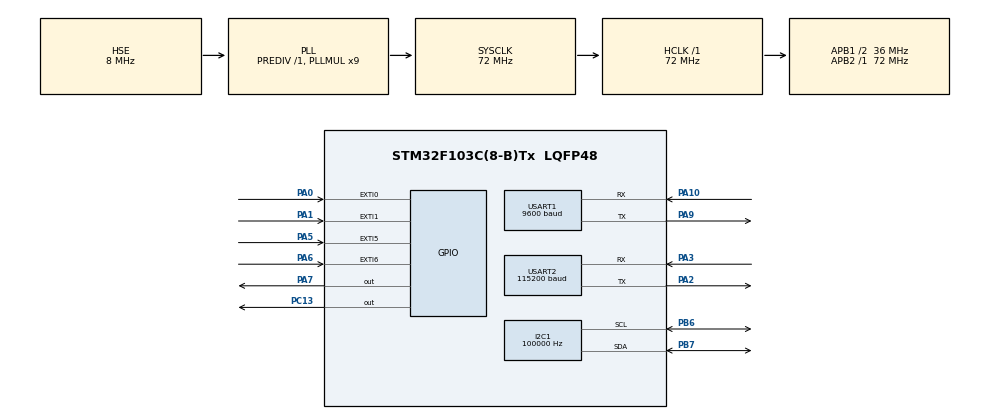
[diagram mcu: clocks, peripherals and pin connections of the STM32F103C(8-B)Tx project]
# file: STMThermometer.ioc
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FREERTOS.Queues01=UartMessageQueue,16,uint8_t,0,Dynamic,NULL,NULL;PCMessageQueue,4,void*,0,Dynamic,NULL,NULL
FREERTOS.Tasks01=defaultTask,0,256,StartDefaultTask,Default,NULL,Dynamic,NULL,NULL;UartReadTask,2,128,StartUartReadTask,As external,NULL,Dynamic,NULL,NULL;PCSendMessTask,-1,128,StartPCSendMessageTask,As external,NULL,Dynamic,NULL,NULL;DesMakerTask,-1,128,StartDecisionMakerTask,As external,NULL,Dynamic,NULL,NULL;DisplayPrintTas,1,512,StartDisplayPrintTask,As external,NULL,Dynamic,NULL,NULL
FREERTOS.Timers01=EncoderMuteTimer,EncoderMuteTimerCallback,osTimerOnce,Default,NULL,Dynamic,NULL
FREERTOS.configTOTAL_HEAP_SIZE=8192
FREERTOS.configUSE_TIMERS=1
I2C1.ClockSpeed=100000
I2C1.I2C_Mode=I2C_Standard
Mcu.Family=STM32F1
Mcu.Name=STM32F103C(8-B)Tx
Mcu.Package=LQFP48
NVIC.EXTI0_IRQn=true\:5\:0\:false\:false\:true\:true\:true\:true
NVIC.EXTI1_IRQn=true\:5\:0\:false\:false\:true\:true\:true\:true
NVIC.EXTI9_5_IRQn=true\:5\:0\:false\:false\:true\:true\:true\:true
NVIC.PriorityGroup=NVIC_PRIORITYGROUP_4
NVIC.TIM1_UP_IRQn=true\:0\:0\:false\:false\:true\:false\:false\:true
NVIC.TIM2_IRQn=true\:5\:0\:false\:false\:true\:true\:true\:true
NVIC.TimeBase=TIM1_UP_IRQn
NVIC.TimeBaseIP=TIM1
NVIC.USART1_IRQn=true\:5\:0\:false\:false\:true\:true\:true\:true
PA0-WKUP.GPIO_ModeDefaultEXTI=GPIO_MODE_IT_FALLING
PA0-WKUP.GPIO_PuPd=GPIO_PULLUP
PA0-WKUP.Signal=GPXTI0
PA1.GPIO_ModeDefaultEXTI=GPIO_MODE_IT_FALLING
PA1.GPIO_PuPd=GPIO_PULLUP
PA1.Signal=GPXTI1
PA10.Mode=Asynchronous
PA10.Signal=USART1_RX
PA13.Mode=Serial_Wire
PA13.Signal=SYS_JTMS-SWDIO
PA14.Mode=Serial_Wire
PA14.Signal=SYS_JTCK-SWCLK
PA2.Mode=Asynchronous
PA2.Signal=USART2_TX
PA3.Mode=Asynchronous
PA3.Signal=USART2_RX
PA5.GPIO_ModeDefaultEXTI=GPIO_MODE_IT_RISING
PA5.GPIO_PuPd=GPIO_PULLUP
PA5.Signal=GPXTI5
PA6.GPIO_ModeDefaultEXTI=GPIO_MODE_IT_FALLING
PA6.GPIO_PuPd=GPIO_NOPULL
PA6.Signal=GPXTI6
PA7.Signal=GPIO_Output
PA9.Mode=Asynchronous
PA9.Signal=USART1_TX
PB6.Mode=I2C
PB6.Signal=I2C1_SCL
PB7.Mode=I2C
PB7.Signal=I2C1_SDA
PC13-TAMPER-RTC.GPIO_PuPd=GPIO_PULLDOWN
PC13-TAMPER-RTC.GPIO_Speed=GPIO_SPEED_FREQ_MEDIUM
PC13-TAMPER-RTC.Signal=GPIO_Output
PD0-OSC_IN.Mode=HSE-External-Oscillator
PD0-OSC_IN.Signal=RCC_OSC_IN
PD1-OSC_OUT.Mode=HSE-External-Oscillator
PD1-OSC_OUT.Signal=RCC_OSC_OUT
ProjectManager.HeapSize=0x200
ProjectManager.StackSize=0x400
ProjectManager.TargetToolchain=STM32CubeIDE
RCC.AHBFreq_Value=72000000
RCC.APB1CLKDivider=RCC_HCLK_DIV2
RCC.APB1Freq_Value=36000000
RCC.APB1TimFreq_Value=72000000
RCC.APB2Freq_Value=72000000
RCC.APB2TimFreq_Value=72000000
RCC.HCLKFreq_Value=72000000
RCC.PLLMUL=RCC_PLL_MUL9
RCC.PLLSourceVirtual=RCC_PLLSOURCE_HSE
RCC.SYSCLKFreq_VALUE=72000000
RCC.SYSCLKSource=RCC_SYSCLKSOURCE_PLLCLK
RCC.USBFreq_Value=72000000
TIM2.Period=8
TIM2.Prescaler=719
USART1.BaudRate=9600
USART1.VirtualMode=VM_ASYNC
USART2.BaudRate=115200
USART2.VirtualMode=VM_ASYNC
VP_FREERTOS_VS_CMSIS_V1.Mode=CMSIS_V1
VP_SYS_VS_tim1.Mode=TIM1
VP_TIM2_VS_ClockSourceINT.Mode=Internal
board=custom

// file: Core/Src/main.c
/* USER CODE BEGIN Header */
/**
 ******************************************************************************
 * @file           : main.c
 * @brief          : Main program body
 ******************************************************************************
 * @attention
 *
 * <h2><center>&copy; Copyright (c) 2020 STMicroelectronics.
 * All rights reserved.</center></h2>
 *
 * This software component is licensed by ST under BSD 3-Clause license,
 * the "License"; You may not use this file except in compliance with the
 * License. You may obtain a copy of the License at:
 *                        opensource.org/licenses/BSD-3-Clause
 *
 ******************************************************************************
 */
/* USER CODE END Header */
#include "main.h"
#include "cmsis_os.h"

I2C_HandleTypeDef hi2c1;

TIM_HandleTypeDef htim2;

UART_HandleTypeDef huart1;
UART_HandleTypeDef huart2;

osThreadId defaultTaskHandle;
osThreadId UartReadTaskHandle;
osThreadId PCSendMessTaskHandle;
osThreadId DesMakerTaskHandle;
osThreadId DisplayPrintTasHandle;
osMessageQId UartMessageQueueHandle;
osMessageQId PCMessageQueueHandle;
osTimerId EncoderMuteTimerHandle;

void SystemClock_Config(void);
static void MX_GPIO_Init(void);
static void MX_USART1_UART_Init(void);
static void MX_USART2_UART_Init(void);
static void MX_I2C1_Init(void);
static void MX_TIM2_Init(void);
void StartDefaultTask(void const * argument);
extern void StartUartReadTask(void const * argument);
extern void StartPCSendMessageTask(void const * argument);
extern void StartDecisionMakerTask(void const * argument);
extern void StartDisplayPrintTask(void const * argument);
void EncoderMuteTimerCallback(void const * argument);

/* USER CODE BEGIN 0 */

void HAL_GPIO_EXTI_Callback(uint16_t GPIO_Pin) {

	ENCODER_isr_callback(&encoder, GPIO_Pin);
	DIMMER_isr_zero_ctrl_callback(&dimmer, GPIO_Pin);
	/*
	 int a = 0;
	 if (!toggle_count) {
	 toggle_count = 1;
	 SelectNextMode();
	 } else {
	 toggle_count = 0;
	 }*/

}

/* USER CODE END 0 */

int main(void)
{

  /* MCU Configuration--------------------------------------------------------*/

  /* Reset of all peripherals, Initializes the Flash interface and the Systick. */
  HAL_Init();

  /* Configure the system clock */
  SystemClock_Config();

  /* Initialize all configured peripherals */
  MX_GPIO_Init();
  MX_USART1_UART_Init();
  MX_USART2_UART_Init();
  MX_I2C1_Init();
  MX_TIM2_Init();
  /* USER CODE BEGIN 2 */
	OWDriverInit(&huart1, 1500);
	InitOutworldInformer(&huart2, 1000, &hi2c1);
	DecisionMakerInit(5000);
	DIMMER_Init(&dimmer, GPIO_PIN_6, GPIO_PIN_7, GPIOA, GPIOA, &htim2);

	//HAL_Delay (5000);

  /* USER CODE END 2 */

  /* Create the timer(s) */
  /* definition and creation of EncoderMuteTimer */
  osTimerDef(EncoderMuteTimer, EncoderMuteTimerCallback);
  EncoderMuteTimerHandle = osTimerCreate(osTimer(EncoderMuteTimer), osTimerOnce, NULL);

  /* USER CODE BEGIN RTOS_TIMERS */
	/* start timers, add new ones, ... */
	ENCODER_Init(&encoder, GPIO_PIN_0, GPIO_PIN_1, GPIO_PIN_5, GPIOA, GPIOA,
			EncoderMuteTimerHandle, &IncreaseMaintainingTemperature,
			&DecreaseMaintainingTemperature, &SelectNextMode);
  /* USER CODE END RTOS_TIMERS */

  /* Create the queue(s) */
  /* definition and creation of UartMessageQueue */
  osMessageQDef(UartMessageQueue, 16, uint8_t);
  UartMessageQueueHandle = osMessageCreate(osMessageQ(UartMessageQueue), NULL);

  /* definition and creation of PCMessageQueue */
  osMessageQDef(PCMessageQueue, 4, void*);
  PCMessageQueueHandle = osMessageCreate(osMessageQ(PCMessageQueue), NULL);

  /* Create the thread(s) */
  /* definition and creation of defaultTask */
  osThreadDef(defaultTask, StartDefaultTask, osPriorityNormal, 0, 256);
  defaultTaskHandle = osThreadCreate(osThread(defaultTask), NULL);

  /* definition and creation of UartReadTask */
  osThreadDef(UartReadTask, StartUartReadTask, osPriorityHigh, 0, 128);
  UartReadTaskHandle = osThreadCreate(osThread(UartReadTask), NULL);

  /* definition and creation of PCSendMessTask */
  osThreadDef(PCSendMessTask, StartPCSendMessageTask, osPriorityBelowNormal, 0, 128);
  PCSendMessTaskHandle = osThreadCreate(osThread(PCSendMessTask), NULL);

  /* definition and creation of DesMakerTask */
  osThreadDef(DesMakerTask, StartDecisionMakerTask, osPriorityBelowNormal, 0, 128);
  DesMakerTaskHandle = osThreadCreate(osThread(DesMakerTask), NULL);

  /* definition and creation of DisplayPrintTas */
  osThreadDef(DisplayPrintTas, StartDisplayPrintTask, osPriorityAboveNormal, 0, 512);
  DisplayPrintTasHandle = osThreadCreate(osThread(DisplayPrintTas), NULL);

  /* Start scheduler */
  osKernelStart();

  /* We should never get here as control is now taken by the scheduler */
  /* Infinite loop */
	while (1) {

	}
}

void SystemClock_Config(void)
{
  RCC_OscInitTypeDef RCC_OscInitStruct = {0};
  RCC_ClkInitTypeDef RCC_ClkInitStruct = {0};

  /** Initializes the RCC Oscillators according to the specified parameters
  * in the RCC_OscInitTypeDef structure.
  */
  RCC_OscInitStruct.OscillatorType = RCC_OSCILLATORTYPE_HSE;
  RCC_OscInitStruct.HSEState = RCC_HSE_ON;
  RCC_OscInitStruct.HSEPredivValue = RCC_HSE_PREDIV_DIV1;
  RCC_OscInitStruct.HSIState = RCC_HSI_ON;
  RCC_OscInitStruct.PLL.PLLState = RCC_PLL_ON;
  RCC_OscInitStruct.PLL.PLLSource = RCC_PLLSOURCE_HSE;
  RCC_OscInitStruct.PLL.PLLMUL = RCC_PLL_MUL9;
  if (HAL_RCC_OscConfig(&RCC_OscInitStruct) != HAL_OK)
  {
    Error_Handler();
  }
  /** Initializes the CPU, AHB and APB buses clocks
  */
  RCC_ClkInitStruct.ClockType = RCC_CLOCKTYPE_HCLK|RCC_CLOCKTYPE_SYSCLK
                              |RCC_CLOCKTYPE_PCLK1|RCC_CLOCKTYPE_PCLK2;
  RCC_ClkInitStruct.SYSCLKSource = RCC_SYSCLKSOURCE_PLLCLK;
  RCC_ClkInitStruct.AHBCLKDivider = RCC_SYSCLK_DIV1;
  RCC_ClkInitStruct.APB1CLKDivider = RCC_HCLK_DIV2;
  RCC_ClkInitStruct.APB2CLKDivider = RCC_HCLK_DIV1;

  if (HAL_RCC_ClockConfig(&RCC_ClkInitStruct, FLASH_LATENCY_2) != HAL_OK)
  {
    Error_Handler();
  }
}

static void MX_I2C1_Init(void)
{

  hi2c1.Instance = I2C1;
  hi2c1.Init.ClockSpeed = 100000;
  hi2c1.Init.DutyCycle = I2C_DUTYCYCLE_2;
  hi2c1.Init.OwnAddress1 = 0;
  hi2c1.Init.AddressingMode = I2C_ADDRESSINGMODE_7BIT;
  hi2c1.Init.DualAddressMode = I2C_DUALADDRESS_DISABLE;
  hi2c1.Init.OwnAddress2 = 0;
  hi2c1.Init.GeneralCallMode = I2C_GENERALCALL_DISABLE;
  hi2c1.Init.NoStretchMode = I2C_NOSTRETCH_DISABLE;
  if (HAL_I2C_Init(&hi2c1) != HAL_OK)
  {
    Error_Handler();
  }

}

static void MX_TIM2_Init(void)
{

  TIM_ClockConfigTypeDef sClockSourceConfig = {0};
  TIM_MasterConfigTypeDef sMasterConfig = {0};

  htim2.Instance = TIM2;
  htim2.Init.Prescaler = 719;
  htim2.Init.CounterMode = TIM_COUNTERMODE_UP;
  htim2.Init.Period = 8;
  htim2.Init.ClockDivision = TIM_CLOCKDIVISION_DIV1;
  htim2.Init.AutoReloadPreload = TIM_AUTORELOAD_PRELOAD_DISABLE;
  if (HAL_TIM_Base_Init(&htim2) != HAL_OK)
  {
    Error_Handler();
  }
  sClockSourceConfig.ClockSource = TIM_CLOCKSOURCE_INTERNAL;
  if (HAL_TIM_ConfigClockSource(&htim2, &sClockSourceConfig) != HAL_OK)
  {
    Error_Handler();
  }
  sMasterConfig.MasterOutputTrigger = TIM_TRGO_RESET;
  sMasterConfig.MasterSlaveMode = TIM_MASTERSLAVEMODE_DISABLE;
  if (HAL_TIMEx_MasterConfigSynchronization(&htim2, &sMasterConfig) != HAL_OK)
  {
    Error_Handler();
  }

}

static void MX_USART1_UART_Init(void)
{

  huart1.Instance = USART1;
  huart1.Init.BaudRate = 9600;
  huart1.Init.WordLength = UART_WORDLENGTH_8B;
  huart1.Init.StopBits = UART_STOPBITS_1;
  huart1.Init.Parity = UART_PARITY_NONE;
  huart1.Init.Mode = UART_MODE_TX_RX;
  huart1.Init.HwFlowCtl = UART_HWCONTROL_NONE;
  huart1.Init.OverSampling = UART_OVERSAMPLING_16;
  if (HAL_UART_Init(&huart1) != HAL_OK)
  {
    Error_Handler();
  }
  /* USER CODE BEGIN USART1_Init 2 */
	HAL_NVIC_EnableIRQ(USART1_IRQn);
	__HAL_UART_ENABLE_IT(&huart1, UART_IT_RXNE);

  /* USER CODE END USART1_Init 2 */

}

static void MX_USART2_UART_Init(void)
{

  huart2.Instance = USART2;
  huart2.Init.BaudRate = 115200;
  huart2.Init.WordLength = UART_WORDLENGTH_8B;
  huart2.Init.StopBits = UART_STOPBITS_1;
  huart2.Init.Parity = UART_PARITY_NONE;
  huart2.Init.Mode = UART_MODE_TX_RX;
  huart2.Init.HwFlowCtl = UART_HWCONTROL_NONE;
  huart2.Init.OverSampling = UART_OVERSAMPLING_16;
  if (HAL_UART_Init(&huart2) != HAL_OK)
  {
    Error_Handler();
  }

}

static void MX_GPIO_Init(void)
{
  GPIO_InitTypeDef GPIO_InitStruct = {0};

  /* GPIO Ports Clock Enable */
  __HAL_RCC_GPIOC_CLK_ENABLE();
  __HAL_RCC_GPIOD_CLK_ENABLE();
  __HAL_RCC_GPIOA_CLK_ENABLE();
  __HAL_RCC_GPIOB_CLK_ENABLE();

  /*Configure GPIO pin Output Level */
  HAL_GPIO_WritePin(GPIOC, GPIO_PIN_13, GPIO_PIN_RESET);

  /*Configure GPIO pin Output Level */
  HAL_GPIO_WritePin(GPIOA, GPIO_PIN_7, GPIO_PIN_RESET);

  /*Configure GPIO pin : PC13 */
  GPIO_InitStruct.Pin = GPIO_PIN_13;
  GPIO_InitStruct.Mode = GPIO_MODE_OUTPUT_PP;
  GPIO_InitStruct.Pull = GPIO_PULLDOWN;
  GPIO_InitStruct.Speed = GPIO_SPEED_FREQ_MEDIUM;
  HAL_GPIO_Init(GPIOC, &GPIO_InitStruct);

  /*Configure GPIO pins : PA0 PA1 */
  GPIO_InitStruct.Pin = GPIO_PIN_0|GPIO_PIN_1;
  GPIO_InitStruct.Mode = GPIO_MODE_IT_FALLING;
  GPIO_InitStruct.Pull = GPIO_PULLUP;
  HAL_GPIO_Init(GPIOA, &GPIO_InitStruct);

  /*Configure GPIO pin : PA5 */
  GPIO_InitStruct.Pin = GPIO_PIN_5;
  GPIO_InitStruct.Mode = GPIO_MODE_IT_RISING;
  GPIO_InitStruct.Pull = GPIO_PULLUP;
  HAL_GPIO_Init(GPIOA, &GPIO_InitStruct);

  /*Configure GPIO pin : PA6 */
  GPIO_InitStruct.Pin = GPIO_PIN_6;
  GPIO_InitStruct.Mode = GPIO_MODE_IT_FALLING;
  GPIO_InitStruct.Pull = GPIO_NOPULL;
  HAL_GPIO_Init(GPIOA, &GPIO_InitStruct);

  /*Configure GPIO pin : PA7 */
  GPIO_InitStruct.Pin = GPIO_PIN_7;
  GPIO_InitStruct.Mode = GPIO_MODE_OUTPUT_PP;
  GPIO_InitStruct.Pull = GPIO_NOPULL;
  GPIO_InitStruct.Speed = GPIO_SPEED_FREQ_LOW;
  HAL_GPIO_Init(GPIOA, &GPIO_InitStruct);

  /* EXTI interrupt init*/
  HAL_NVIC_SetPriority(EXTI0_IRQn, 5, 0);
  HAL_NVIC_EnableIRQ(EXTI0_IRQn);

  HAL_NVIC_SetPriority(EXTI1_IRQn, 5, 0);
  HAL_NVIC_EnableIRQ(EXTI1_IRQn);

  HAL_NVIC_SetPriority(EXTI9_5_IRQn, 5, 0);
  HAL_NVIC_EnableIRQ(EXTI9_5_IRQn);

}

/* USER CODE BEGIN 4 */
void SetCtrlPinFunc(uint8_t power) {

	DIMMER_SetPower(&dimmer, power);
	/*if (isTurnOn)
	 HAL_GPIO_WritePin(GPIOB, GPIO_PIN_8, GPIO_PIN_RESET);
	 else
	 HAL_GPIO_WritePin(GPIOB, GPIO_PIN_8, GPIO_PIN_SET);
	 */
}

/* USER CODE END 4 */

void StartDefaultTask(void const * argument)
{
  /* USER CODE BEGIN 5 */
	osDelay(100);
	HAL_TIM_Base_Start_IT(&htim2);
	AppRun(SetCtrlPinFunc);

	/* Infinite loop */
	for (;;) {
		osDelay(1);
	}
  /* USER CODE END 5 */
}

/* EncoderMuteTimerCallback function */
void EncoderMuteTimerCallback(void const * argument)
{
  /* USER CODE BEGIN EncoderMuteTimerCallback */
	ENCODER_mute_timer_callback(&encoder);
  /* USER CODE END EncoderMuteTimerCallback */
}

 /**
  * @brief  Period elapsed callback in non blocking mode
  * @note   This function is called  when TIM1 interrupt took place, inside
  * HAL_TIM_IRQHandler(). It makes a direct call to HAL_IncTick() to increment
  * a global variable "uwTick" used as application time base.
  * @param  htim : TIM handle
  * @retval None
  */
void HAL_TIM_PeriodElapsedCallback(TIM_HandleTypeDef *htim)
{
  if (htim->Instance == TIM1) {
    HAL_IncTick();
  }
}

void Error_Handler(void)
{
	__disable_irq();
	while (1) {
	}
}

/************************ (C) COPYRIGHT STMicroelectronics *****END OF FILE****/
